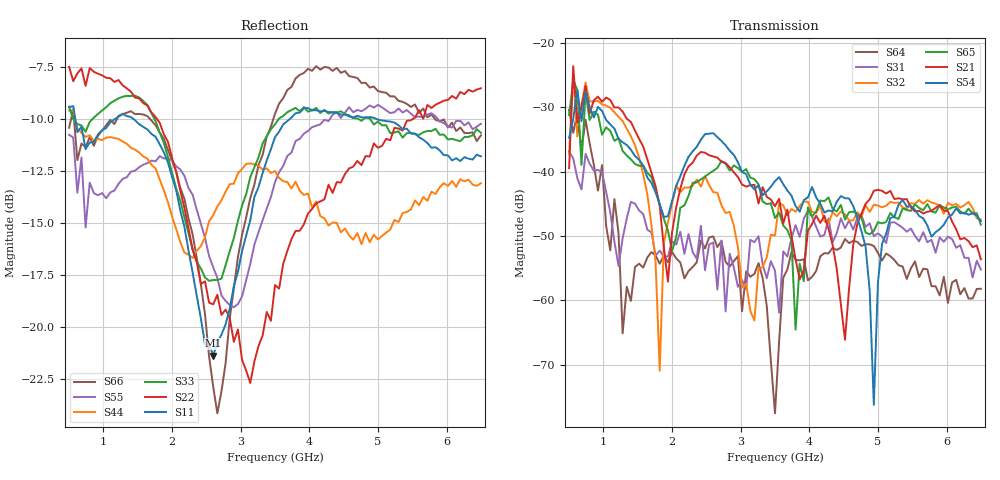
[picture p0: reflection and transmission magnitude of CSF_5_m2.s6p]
!Keysight Technologies,M9804A,MY58100912,A.14.10.03
!Date: Thursday, April 27, 2023 10:28:33
!Correction: S11(C  6-Port  )
!S12(C  6-Port  )
!S13(C  6-Port  )
!S14(C  6-Port  )
!S15(C  6-Port  )
!S16(C  6-Port  )
!S21(C  6-Port  )
!S22(C  6-Port  )
!S23(C  6-Port  )
!S24(C  6-Port  )
!S25(C  6-Port  )
!S26(C  6-Port  )
!S31(C  6-Port  )
!S32(C  6-Port  )
!S33(C  6-Port  )
!S34(C  6-Port  )
!S35(C  6-Port  )
!S36(C  6-Port  )
!S41(C  6-Port  )
!S42(C  6-Port  )
!S43(C  6-Port  )
!S44(C  6-Port  )
!S45(C  6-Port  )
!S46(C  6-Port  )
!S51(C  6-Port  )
!S52(C  6-Port  )
!S53(C  6-Port  )
!S54(C  6-Port  )
!S55(C  6-Port  )
!S56(C  6-Port  )
!S61(C  6-Port  )
!S62(C  6-Port  )
!S63(C  6-Port  )
!S64(C  6-Port  )
!S65(C  6-Port  )
!S66(C  6-Port  )
!S6P File: Measurement: :
# Hz S  RI  R 50
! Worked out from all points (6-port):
!   101 points, 500 MHz to 6.5 GHz, reference 50 ohm
!   strongest paths, dB at 500 MHz, 2 GHz, 3.5 GHz, 5 GHz, 6.5 GHz:
!     S54: -34.7, -44.5, -41.5, -57.2, -47.7
!     S21: -39.4, -49.4, -45.4, -42.8, -53.6
!     S65: -31.2, -52.3, -47.2, -47.8, -48.2
!     S32: -37.2, -45.0, -49.9, -45.3, -47.4
!     S31: -36.9, -50.8, -55.4, -49.6, -55.2
!     S64: -30.4, -52.4, -77.5, -52.6, -58.2
!   lowest |S11| = -21.4 dB at 2.6 GHz (marker M1), VSWR 1.19, Z = 42.4 + j2.22 ohm
!   |S11| at or under -10 dB: 589.8 MHz to 1.165 GHz (575.5 MHz wide, 65.6 % of centre); 1.438 GHz to 3.714 GHz (2.276 GHz wide, 88.4 % of centre); 4.98 GHz to end of sweep
